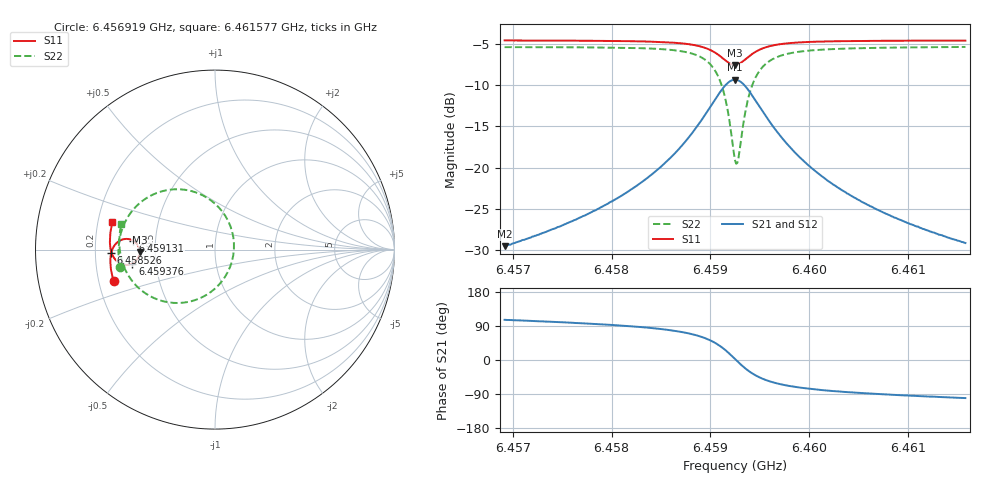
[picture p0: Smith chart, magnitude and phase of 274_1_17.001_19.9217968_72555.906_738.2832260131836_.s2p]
#  HZ  S  RI  R  50.00
! Rohde & Schwarz Vector Network Analyzer
! Rohde-Schwarz,ZNB20-2Port,1311601062101988,3.16
! Created: UTC 3/20/2024, 11:04:18 PM
! freq[Hz]  re:S11  im:S11  re:S21  im:S21  re:S12  im:S12  re:S22  im:S22
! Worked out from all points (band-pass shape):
!   401 points, 6.456919 GHz to 6.461577 GHz, reference 50 ohm
!   highest |S21| = -9.32 dB at 6.459248 GHz (marker M1); lowest = -29.6 dB at 6.456919 GHz (marker M2)
!   |S21| within 3 dB of the highest: 6.459015 GHz to 6.459481 GHz (466.1 kHz wide, 0.00722 % of centre)
!   lowest |S11| = -7.5 dB at 6.459248 GHz (marker M3), VSWR 2.45, Z = 20.4 - j0.625 ohm
!   |S11| at or under -10 dB: nowhere
!   |S22| runs from -19.5 to -5.3 dB; largest |S21 - S12| = 0.013
!   S11 on the Smith chart (normalised r, x): 6.456919 GHz: 0.26, -0.14; 6.458526 GHz: 0.27, -0.02; 6.459131 GHz: 0.37, +0.05; 6.459376 GHz: 0.37, -0.07; 6.461577 GHz: 0.26, +0.12
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6.4569188e9  -0.5651 -0.1773  -0.00919 0.032  -0.00747 0.0321  -0.531 -0.0943
6.457699e9  -0.5798 -0.1095  -0.00605 0.0498  -0.00366 0.0494  -0.5379 -0.00365
6.4581065e9  -0.583 -0.069  -0.000705 0.0678  0.00236 0.0667  -0.5314 0.0597
6.4584792e9  -0.5796 -0.025  0.0132 0.098  0.0173 0.0953  -0.5062 0.1421
6.4585257e9  -0.5783 -0.0187  0.0165 0.1033  0.0207 0.1004  -0.4999 0.1553
6.4587353e9  -0.5663 0.0132  0.0423 0.1349  0.0465 0.1304  -0.4518 0.227
6.4588867e9  -0.5453 0.0396  0.0845 0.1653  0.088 0.1588  -0.3742 0.2915
6.4590381e9  -0.4996 0.0594  0.1756 0.1846  0.1767 0.1773  -0.2075 0.3363
6.4591313e9  -0.4554 0.0495  0.2649 0.1541  0.2652 0.148  -0.042 0.2874
6.4591778e9  -0.4344 0.0309  0.3083 0.1118  0.3098 0.1063  0.0405 0.212
6.4592477e9  -0.4197 -0.0126  0.3417 0.0159  0.3453 0.00895  0.1055 0.0343
6.4592593e9  -0.4201 -0.0206  0.3415 -0.00152  0.3453 -0.00925  0.1054 0.00093
6.4592826e9  -0.4235 -0.036  0.3363 -0.036  0.34 -0.0451  0.0947 -0.0641
6.4593758e9  -0.4606 -0.0779  0.2669 -0.1361  0.2661 -0.1493  -0.0455 -0.251
6.4594224e9  -0.4833 -0.0845  0.2231 -0.1586  0.2193 -0.1714  -0.1333 -0.2879
6.4594806e9  -0.508 -0.0838  0.1742 -0.1682  0.1678 -0.1792  -0.2297 -0.2969
6.459632e9  -0.5491 -0.0622  0.0919 -0.1524  0.0835 -0.1582  -0.3866 -0.2444
6.459795e9  -0.5694 -0.0348  0.0495 -0.1253  0.0422 -0.1279  -0.4623 -0.174
6.4600279e9  -0.581 -0.00114  0.0227 -0.0961  0.017 -0.0967  -0.5067 -0.0968
6.4603656e9  -0.5856 0.0388  0.00692 -0.0704  0.00284 -0.0699  -0.5282 -0.02
6.4608081e9  -0.5838 0.0832  -0.00107 -0.0514  -0.00401 -0.0506  -0.5332 0.0504
6.4615766e9  -0.5715 0.1511  -0.00631 -0.0342  -0.00795 -0.0333  -0.5221 0.1409
